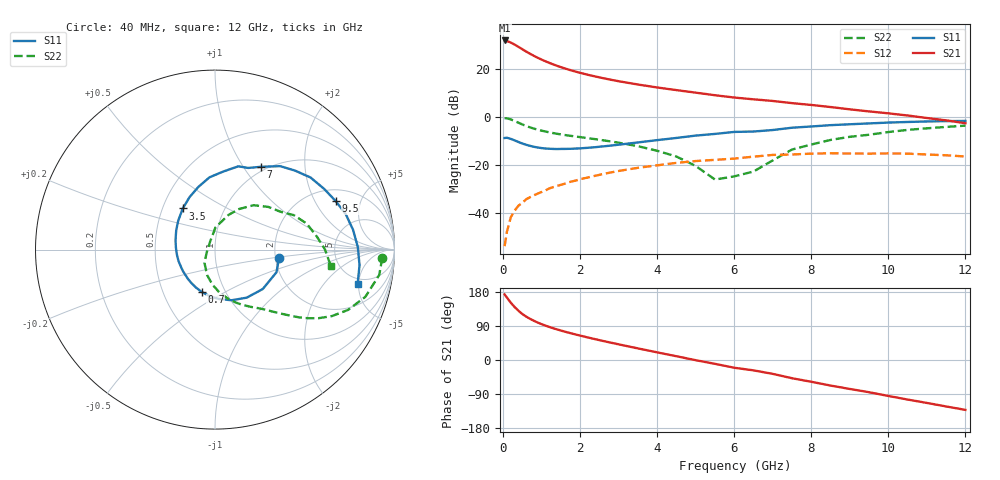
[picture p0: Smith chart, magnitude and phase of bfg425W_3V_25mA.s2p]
! Filename: 325bfg425.001
! BFG425W Field C1
! V1=8.521E-001V,V2=3.000E+000V, I1=3.334E-004A, I2=2.502E-002A
# GHz  S  MA  R 50
!  S11  S21  S12  S22
!Freq(GHz)  Mag  Ang  Mag  Ang  Mag  Ang  Mag  Ang
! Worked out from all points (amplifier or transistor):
!   44 points, 40 MHz to 12 GHz, reference 50 ohm
!   highest |S21| = 31.8 dB at 40 MHz (marker M1)
!   |S21| within 3 dB of that: start of sweep to 433.1 MHz
!   unconditionally stable (mu >= 1): 1.238 GHz to end of sweep
!   at 700 MHz: K = 0.80, MSG = 29.9 dB, |S12| = -33.6 dB
!   at 2.4 GHz: K = 1.16, MAG = 18.3 dB, |S12| = -24.6 dB
!   at 12 GHz: K = 1.34, MAG = 3.4 dB, |S12| = -16.6 dB
!   S11 on the Smith chart (normalised r, x): 40 MHz: 2.09, -0.23; 700 MHz: 0.78, -0.39; 3.5 GHz: 0.63, +0.32; 7 GHz: 0.94, +1.21; 9.5 GHz: 2.64, +3.00; 12 GHz: 4.27, -4.86
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0.04  0.36 -7.5  38.91 173.1  0.002 74.5  0.933 -2.8
0.1  0.365 -20.3  37.79 164.8  0.004 82.4  0.926 -8.8
0.2  0.345 -39.5  35.24 151.2  0.008 76.2  0.878 -17.5
0.3  0.321 -56.5  31.93 139.8  0.011 72.1  0.814 -24.4
0.4  0.297 -71.8  28.6 130.0  0.014 69.4  0.749 -29.6
0.5  0.276 -85.6  25.54 121.4  0.016 66.6  0.691 -33.6
0.6  0.26 -97.2  22.83 114.5  0.019 65.0  0.641 -36.6
0.7  0.247 -107.6  20.54 108.7  0.021 63.8  0.6 -39.0
0.9  0.228 -125.3  16.95 98.8  0.025 62.4  0.536 -42.6
1.2  0.215 -146.0  13.26 87.2  0.032 60.4  0.473 -47.0
1.6  0.213 -167.8  10.19 74.9  0.04 57.5  0.416 -52.3
2.2  0.225 167.4  7.498 59.5  0.054 51.6  0.357 -61.1
2.8  0.25 147.4  5.897 45.7  0.069 44.6  0.305 -70.9
3.5  0.291 128.1  4.693 30.6  0.086 35.1  0.243 -83.7
4.5  0.361 105.0  3.587 10.0  0.109 20.1  0.148 -107.4
5.5  0.438 83.8  2.808 -10.1  0.126 4.4  0.049 -160.6
6.5  0.491 67.9  2.306 -27.4  0.147 -8.0  0.072 103.8
7  0.528 60.9  2.132 -36.6  0.16 -15.7  0.123 89.0
8.5  0.667 37.0  1.593 -67.4  0.173 -45.0  0.328 49.0
9.5  0.725 21.8  1.291 -85.0  0.17 -61.7  0.421 30.1
10.5  0.777 8.2  1.061 -104.4  0.17 -80.3  0.531 15.9
12  0.817 -13.4  0.732 -131.6  0.148 -110.1  0.652 -8.1
